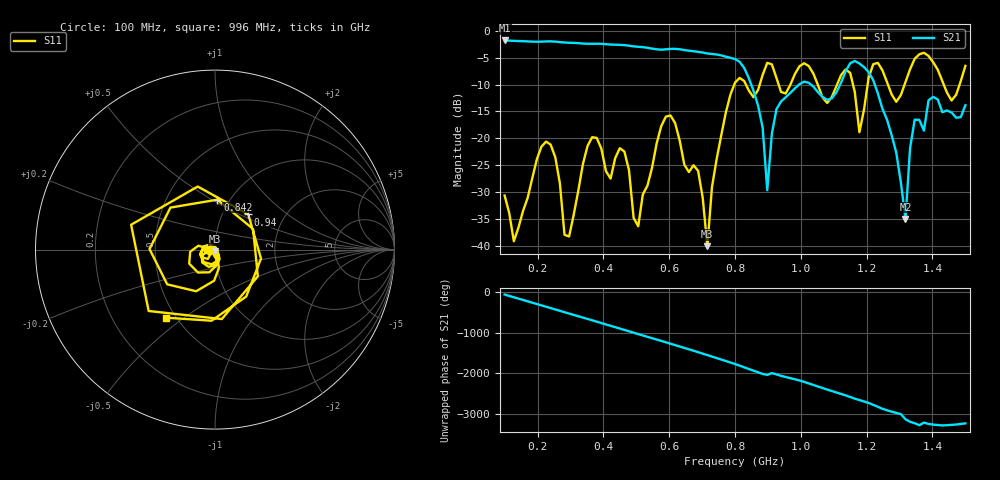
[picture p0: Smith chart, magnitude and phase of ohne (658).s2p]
! NanoVNA-App
! Date: 2025-09-25 14:25:55
! Start: 100MHz Stop: 1,5GHz Points: 101
! S-Parameter data: F S11 S21 S12 S22
# Hz S RI R 50
!  Frequency  S11_Real  S11_Imag  S21_Real  S21_Imag  S12_Real  S12_Imag  S22_Real  S22_Imag
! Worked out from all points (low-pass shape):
!   101 points, 100 MHz to 1.5 GHz, reference 50 ohm
!   highest |S21| = -1.79 dB at 100 MHz (marker M1); lowest = -35.0 dB at 1.318 GHz (marker M2)
!   |S21| within 3 dB of the highest: start of sweep to 771.2 MHz
!   lowest |S11| = -40.1 dB at 716 MHz (marker M3), VSWR 1.02, Z = 49.8 - j0.964 ohm
!   |S11| at or under -10 dB: start of sweep to 797.8 MHz; 833.3 MHz to 875.1 MHz (41.8 MHz wide, 4.89 % of centre); 1.052 GHz to 1.11 GHz (58.64 MHz wide, 5.43 % of centre) (the widest 3 of 7)
!   S12 and S22 are empty: the file has one direction only
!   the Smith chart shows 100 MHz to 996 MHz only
!   S11 on the Smith chart (normalised r, x): 100 MHz: 0.94, -0.01; 842 MHz: 0.88, +0.53; 940 MHz: 1.32, +0.56; 996 MHz: 0.44, -0.43
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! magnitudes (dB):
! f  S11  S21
! 100 MHz  -30.6  -1.8
! 128 MHz  -39.1  -1.9
! 226 MHz  -20.6  -2.0
! 296 MHz  -38.2  -2.2
! 338 MHz  -24.8  -2.4
! 464 MHz  -22.5  -2.7
! 506 MHz  -36.3  -3.0
! 576 MHz  -17.7  -3.5
! 688 MHz  -26.0  -3.9
! 716 MHz  -40.1  -4.2
! 800 MHz  -9.7  -5.3
! 842 MHz  -11.1  -8.8
! 898 MHz  -6.0  -29.6
! 940 MHz  -11.4  -13.1
! 996 MHz  -6.6  -9.9
! 1.038 GHz  -7.9  -10.4
! 1.178 GHz  -18.9  -6.1
! 1.22 GHz  -6.2  -9.2
! 1.276 GHz  -11.8  -19.4
! 1.318 GHz  -9.5  -35.0
! 1.346 GHz  -5.2  -16.5
! 1.5 GHz  -6.5  -13.8
